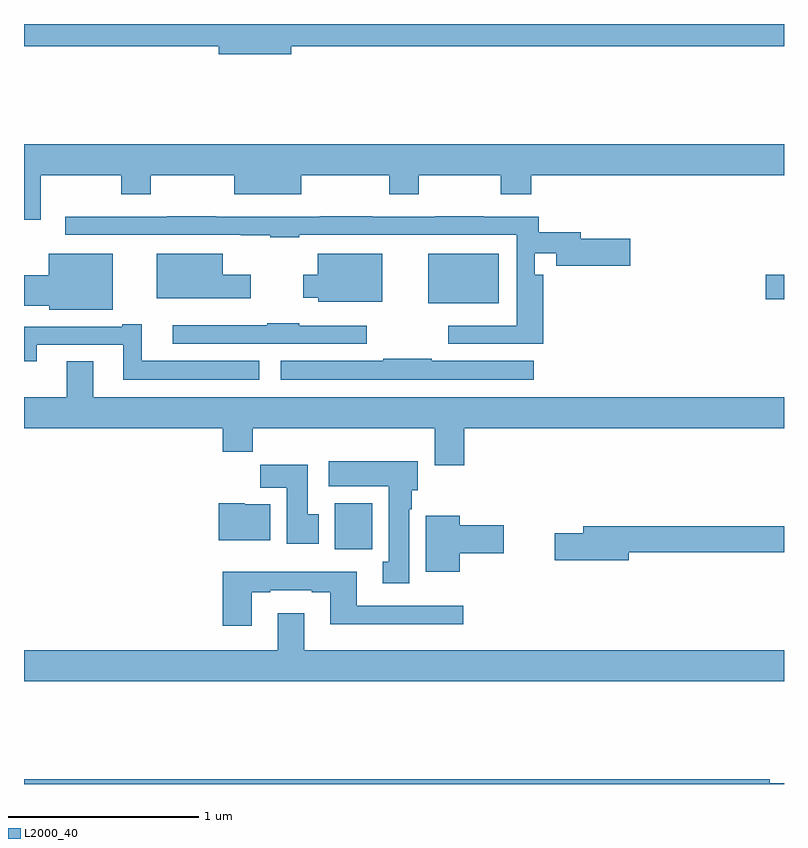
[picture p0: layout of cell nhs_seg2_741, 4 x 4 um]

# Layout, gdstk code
import gdstk
lib = gdstk.Library(unit=1e-6, precision=1e-09)
def R(c, l, rs):  # rectangles x0, y0, x1, y1
    for r in rs: c.add(gdstk.rectangle(r[:2], r[2:], *l))
def P(c, l, *ps):  # polygons
    for p in ps: c.add(gdstk.Polygon(p, *l))
L2000_40 = (2000, 40)

nhs_seg2_741 = lib.new_cell('nhs_seg2_741')
R(nhs_seg2_741, L2000_40, [(150.635,611.036,150.832,611.278), (151.127,612.329,151.498,612.592), (152.904,612.352,153,612.481)])
P(nhs_seg2_741, L2000_40, [(150.406,613.684),(153,613.684),(153,613.8),(149,613.8),(149,613.684),(150.026,613.684),(150.026,613.642),(150.406,613.642)],
  [(149.089,613.004),(149.512,613.004),(149.512,612.905),(149.667,612.905),(149.667,613.004),(150.107,613.004),(150.107,612.905),(150.46,612.905),(150.46,613.004),(150.922,613.004),(150.922,612.905),(151.077,612.905),(151.077,613.004),(151.51,613.004),(151.51,612.905),(151.67,612.905),(151.67,613.004),(153,613.004),(153,613.168),(149,613.168),(149,612.771),(149.089,612.771)],
  [(151.733,612.481),(151.689,612.481),(151.689,612.594),(151.802,612.594),(151.802,612.527),(152.191,612.527),(152.191,612.669),(151.93,612.669),(151.93,612.703),(151.709,612.703),(151.709,612.786),(151.421,612.786),(151.421,612.788),(151.165,612.788),(151.165,612.786),(150.833,612.786),(150.833,612.788),(150.556,612.788),(150.556,612.786),(150.011,612.786),(150.011,612.788),(149.755,612.788),(149.755,612.786),(149.217,612.786),(149.217,612.69),(150.142,612.69),(150.142,612.689),(150.296,612.689),(150.296,612.678),(150.449,612.678),(150.449,612.69),(151.593,612.69),(151.593,612.213),(151.233,612.213),(151.233,612.117),(151.733,612.117)],
  [(149.467,612.592),(149.129,612.592),(149.129,612.477),(149,612.477),(149,612.317),(149.133,612.317),(149.133,612.296),(149.467,612.296)],
  [(150.886,612.592),(150.545,612.592),(150.545,612.481),(150.47,612.481),(150.47,612.359),(150.549,612.359),(150.549,612.338),(150.886,612.338)],
  [(150.193,612.481),(150.046,612.481),(150.046,612.592),(149.699,612.592),(149.699,612.356),(150.193,612.356)],
  [(150.805,612.213),(150.449,612.213),(150.449,612.226),(150.28,612.226),(150.28,612.214),(149.784,612.214),(149.784,612.117),(150.805,612.117)],
  [(150.238,612.028),(149.62,612.028),(149.62,612.22),(149.516,612.22),(149.516,612.207),(149,612.207),(149,612.024),(149.068,612.024),(149.068,612.111),(149.522,612.111),(149.522,611.927),(150.238,611.927)],
  [(151.684,612.028),(151.145,612.028),(151.145,612.038),(150.892,612.038),(150.892,612.028),(150.351,612.028),(150.351,611.927),(151.684,611.927)],
  [(151.316,611.672),(153,611.672),(153,611.836),(149.365,611.836),(149.365,612.026),(149.225,612.026),(149.225,611.836),(149,611.836),(149,611.672),(150.047,611.672),(150.047,611.548),(150.203,611.548),(150.203,611.672),(151.163,611.672),(151.163,611.478),(151.316,611.478)],
  [(151.027,611.246),(151.042,611.246),(151.042,611.346),(151.072,611.346),(151.072,611.5),(150.603,611.5),(150.603,611.366),(150.92,611.366),(150.92,610.97),(150.887,610.97),(150.887,610.857),(151.027,610.857)],
  [(150.55,611.22),(150.493,611.22),(150.493,611.479),(150.244,611.479),(150.244,611.36),(150.383,611.36),(150.383,611.064),(150.55,611.064)],
  [(150.295,611.272),(150.162,611.272),(150.162,611.278),(150.026,611.278),(150.026,611.084),(150.295,611.084)],
  [(151.294,611.015),(151.525,611.015),(151.525,611.162),(151.294,611.162),(151.294,611.212),(151.115,611.212),(151.115,610.916),(151.294,610.916)],
  [(152.182,611.02),(153,611.02),(153,611.156),(151.943,611.156),(151.943,611.12),(151.794,611.12),(151.794,610.978),(152.182,610.978)],
  [(150.199,610.809),(150.295,610.809),(150.295,610.821),(150.515,610.821),(150.515,610.809),(150.611,610.809),(150.611,610.64),(151.312,610.64),(151.312,610.737),(150.751,610.737),(150.751,610.918),(150.047,610.918),(150.047,610.632),(150.199,610.632)],
  [(153,610.504),(150.475,610.504),(150.475,610.699),(150.335,610.699),(150.335,610.504),(149,610.504),(149,610.34),(153,610.34)],
  [(153,609.805),(152.924,609.805),(152.924,609.824),(149,609.824),(149,609.8),(153,609.8)])

lib.write_gds('nhs_seg2_741.gds')
